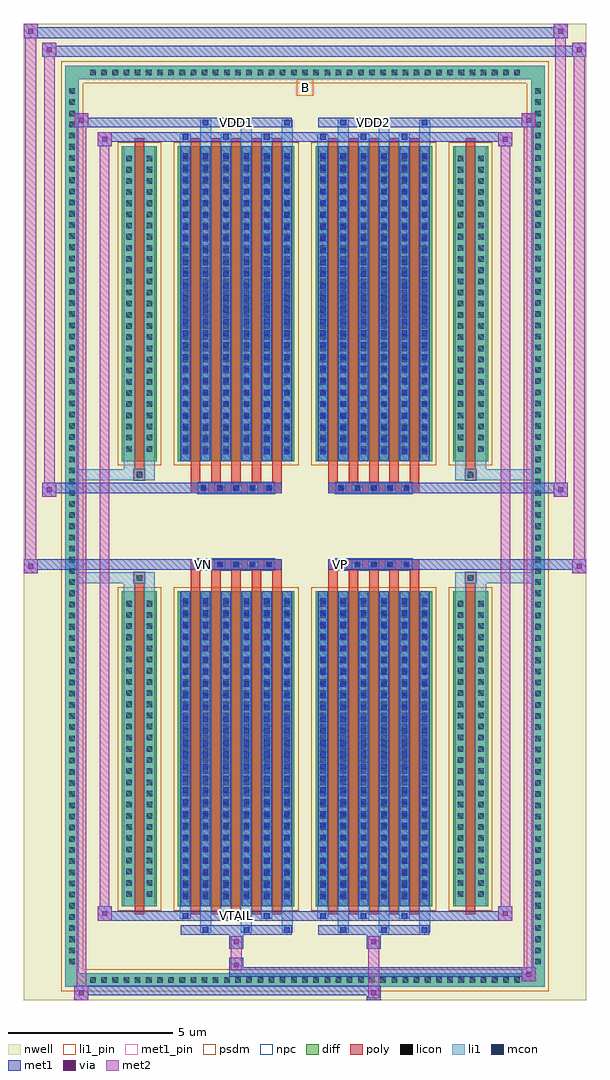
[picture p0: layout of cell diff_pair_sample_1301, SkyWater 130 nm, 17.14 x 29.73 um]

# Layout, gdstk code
import gdstk
lib = gdstk.Library(unit=1e-6, precision=5e-09)
def R(c, l, rs):  # rectangles x0, y0, x1, y1
    for r in rs: c.add(gdstk.rectangle(r[:2], r[2:], *l))
def A(c, l, x, y, w, h, nx, ny, dx, dy):  # array of equal rectangles
    R(c, l, [(x+i*dx, y+j*dy, x+i*dx+w, y+j*dy+h) for i in range(nx) for j in range(ny)])
def P(c, l, *ps):  # polygons
    for p in ps: c.add(gdstk.Polygon(p, *l))
nwell = (64, 20)
diff = (65, 20)
poly = (66, 20)
licon = (66, 44)
li1_pin = (67, 16)
li1 = (67, 20)
mcon = (67, 44)
met1_pin = (68, 16)
met1 = (68, 20)
via = (68, 44)
met2 = (69, 20)
psdm = (94, 20)
npc = (95, 20)

diff_pair_sample_1301 = lib.new_cell('diff_pair_sample_1301')
R(diff_pair_sample_1301, nwell, [(-8.57,-14.43,8.57,15.3), (-5.89,-12.62,-0.01,-0.8), (0.01,-12.62,5.89,-0.8), (-5.89,0.8,-0.01,12.62), (0.01,0.8,5.89,12.62)])
A(diff_pair_sample_1301, diff, -6.665, -14.03, 0.41, 0.41, 39, 2, 0.34, 27.65)
A(diff_pair_sample_1301, diff, -7.3, -13.465, 0.41, 0.41, 1, 79, 0, 0.34)
A(diff_pair_sample_1301, diff, 6.89, -13.465, 0.41, 0.41, 1, 79, 0, 0.34)
R(diff_pair_sample_1301, diff, [(-6.665,-14.03,6.665,-13.62), (-7.3,-13.465,-6.89,13.465), (6.89,-13.465,7.3,13.465), (-5.58,-11.575,-4.51,-1.985), (-3.87,-11.575,-0.32,-1.985), (0.32,-11.575,3.87,-1.985), (4.51,-11.575,5.58,-1.985), (-5.58,1.985,-4.51,11.575), (-3.87,1.985,-0.32,11.575), (0.32,1.985,3.87,11.575), (4.51,1.985,5.58,11.575), (-6.665,13.62,6.665,14.03)])
P(diff_pair_sample_1301, diff, [(7.3,14.03),(-7.3,14.03),(-7.3,-13.62),(-6.89,-13.62),(-6.89,13.62),(6.89,13.62),(6.89,-13.62),(-6.89,-13.62),(-7.3,-13.62),(-7.3,-14.03),(7.3,-14.03)])
A(diff_pair_sample_1301, poly, -3.48, -11.825, 0.29, 10.09, 5, 2, 0.62, 13.56)
A(diff_pair_sample_1301, poly, 0.71, -11.825, 0.29, 10.09, 5, 2, 0.62, 13.56)
A(diff_pair_sample_1301, poly, -3.48, -1.735, 0.29, 0.405, 5, 2, 0.62, 3.065)
A(diff_pair_sample_1301, poly, 0.71, -1.735, 0.29, 0.405, 5, 2, 0.62, 3.065)
A(diff_pair_sample_1301, poly, -3.26, -1.33, 0.33, 0.33, 5, 2, 0.5, 2.33)
A(diff_pair_sample_1301, poly, 0.93, -1.33, 0.33, 0.33, 5, 2, 0.5, 2.33)
R(diff_pair_sample_1301, poly, [(-5.19,-11.825,-4.9,-1.735), (4.9,-11.825,5.19,-1.735), (-5.21,-1.735,-4.88,-1.405), (-5.21,-1.735,-4.88,-1.405), (4.88,-1.735,5.21,-1.405), (4.88,-1.735,5.21,-1.405), (-3.48,-1.33,-0.71,-1), (0.71,-1.33,3.48,-1), (-3.48,1,-0.71,1.33), (0.71,1,3.48,1.33), (-5.21,1.405,-4.88,1.735), (-5.21,1.405,-4.88,1.735), (4.88,1.405,5.21,1.735), (4.88,1.405,5.21,1.735), (-5.19,1.735,-4.9,11.825), (4.9,1.735,5.19,11.825)])
A(diff_pair_sample_1301, licon, -6.545, -13.91, 0.17, 0.17, 39, 2, 0.34, 27.65)
A(diff_pair_sample_1301, licon, -7.18, -13.345, 0.17, 0.17, 1, 79, 0, 0.34)
A(diff_pair_sample_1301, licon, 7.01, -13.345, 0.17, 0.17, 1, 79, 0, 0.34)
A(diff_pair_sample_1301, licon, -5.44, -11.285, 0.17, 0.17, 1, 27, 0, 0.34)
A(diff_pair_sample_1301, licon, -4.82, -11.285, 0.17, 0.17, 1, 27, 0, 0.34)
A(diff_pair_sample_1301, licon, -3.73, -11.285, 0.17, 0.17, 6, 27, 0.62, 0.34)
A(diff_pair_sample_1301, licon, 0.46, -11.285, 0.17, 0.17, 6, 27, 0.62, 0.34)
A(diff_pair_sample_1301, licon, 4.65, -11.285, 0.17, 0.17, 1, 27, 0, 0.34)
A(diff_pair_sample_1301, licon, 5.27, -11.285, 0.17, 0.17, 1, 27, 0, 0.34)
A(diff_pair_sample_1301, licon, -3.18, -1.25, 0.17, 0.17, 5, 2, 0.5, 2.33)
A(diff_pair_sample_1301, licon, 1.01, -1.25, 0.17, 0.17, 5, 2, 0.5, 2.33)
A(diff_pair_sample_1301, licon, -5.44, 2.275, 0.17, 0.17, 1, 27, 0, 0.34)
A(diff_pair_sample_1301, licon, -4.82, 2.275, 0.17, 0.17, 1, 27, 0, 0.34)
A(diff_pair_sample_1301, licon, -3.73, 2.275, 0.17, 0.17, 6, 27, 0.62, 0.34)
A(diff_pair_sample_1301, licon, 0.46, 2.275, 0.17, 0.17, 6, 27, 0.62, 0.34)
A(diff_pair_sample_1301, licon, 4.65, 2.275, 0.17, 0.17, 1, 27, 0, 0.34)
A(diff_pair_sample_1301, licon, 5.27, 2.275, 0.17, 0.17, 1, 27, 0, 0.34)
R(diff_pair_sample_1301, licon, [(-5.13,-1.655,-4.96,-1.485), (4.96,-1.655,5.13,-1.485), (-5.13,1.485,-4.96,1.655), (4.96,1.485,5.13,1.655)])
R(diff_pair_sample_1301, li1_pin, [(-0.25,13.12,0.25,13.62)])
A(diff_pair_sample_1301, li1, -6.625, -13.99, 0.33, 0.33, 39, 2, 0.34, 27.65)
A(diff_pair_sample_1301, li1, -7.26, -13.425, 0.33, 0.33, 1, 79, 0, 0.34)
A(diff_pair_sample_1301, li1, 6.93, -13.425, 0.33, 0.33, 1, 79, 0, 0.34)
A(diff_pair_sample_1301, li1, -3.19, -12.38, 0.33, 0.805, 3, 2, 1.24, 23.955)
A(diff_pair_sample_1301, li1, -3.11, -12.38, 0.17, 0.17, 3, 2, 1.24, 24.59)
A(diff_pair_sample_1301, li1, 1, -12.38, 0.33, 0.805, 3, 2, 1.24, 23.955)
A(diff_pair_sample_1301, li1, 1.08, -12.38, 0.17, 0.17, 3, 2, 1.24, 24.59)
A(diff_pair_sample_1301, li1, -3.81, -11.95, 0.33, 0.375, 3, 2, 1.24, 23.525)
A(diff_pair_sample_1301, li1, -3.73, -11.95, 0.17, 0.17, 3, 2, 1.24, 23.73)
A(diff_pair_sample_1301, li1, 0.38, -11.95, 0.33, 0.375, 3, 2, 1.24, 23.525)
A(diff_pair_sample_1301, li1, 0.46, -11.95, 0.17, 0.17, 3, 2, 1.24, 23.73)
A(diff_pair_sample_1301, li1, -3.81, -11.575, 0.33, 9.59, 6, 2, 0.62, 13.56)
A(diff_pair_sample_1301, li1, 0.38, -11.575, 0.33, 9.59, 6, 2, 0.62, 13.56)
A(diff_pair_sample_1301, li1, -5.52, -11.365, 0.33, 0.33, 1, 27, 0, 0.34)
A(diff_pair_sample_1301, li1, -4.9, -11.365, 0.33, 0.33, 1, 27, 0, 0.34)
A(diff_pair_sample_1301, li1, -3.81, -11.365, 0.33, 0.33, 6, 27, 0.62, 0.34)
A(diff_pair_sample_1301, li1, -3.73, -11.365, 0.17, 0.17, 6, 26, 0.62, 0.36)
A(diff_pair_sample_1301, li1, -3.73, -11.365, 0.17, 9.17, 6, 2, 0.62, 13.56)
A(diff_pair_sample_1301, li1, 0.38, -11.365, 0.33, 0.33, 6, 27, 0.62, 0.34)
A(diff_pair_sample_1301, li1, 0.46, -11.365, 0.17, 0.17, 6, 26, 0.62, 0.36)
A(diff_pair_sample_1301, li1, 0.46, -11.365, 0.17, 9.17, 6, 2, 0.62, 13.56)
A(diff_pair_sample_1301, li1, 4.57, -11.365, 0.33, 0.33, 1, 27, 0, 0.34)
A(diff_pair_sample_1301, li1, 5.19, -11.365, 0.33, 0.33, 1, 27, 0, 0.34)
A(diff_pair_sample_1301, li1, -3.26, -1.33, 0.33, 0.33, 5, 2, 0.5, 2.33)
A(diff_pair_sample_1301, li1, 0.93, -1.33, 0.33, 0.33, 5, 2, 0.5, 2.33)
A(diff_pair_sample_1301, li1, -5.52, 2.195, 0.33, 0.33, 1, 27, 0, 0.34)
A(diff_pair_sample_1301, li1, -4.9, 2.195, 0.33, 0.33, 1, 27, 0, 0.34)
A(diff_pair_sample_1301, li1, -3.81, 2.195, 0.33, 0.33, 6, 27, 0.62, 0.34)
A(diff_pair_sample_1301, li1, -3.73, 2.195, 0.17, 0.17, 6, 26, 0.62, 0.36)
A(diff_pair_sample_1301, li1, 0.38, 2.195, 0.33, 0.33, 6, 27, 0.62, 0.34)
A(diff_pair_sample_1301, li1, 0.46, 2.195, 0.17, 0.17, 6, 26, 0.62, 0.36)
A(diff_pair_sample_1301, li1, 4.57, 2.195, 0.33, 0.33, 1, 27, 0, 0.34)
A(diff_pair_sample_1301, li1, 5.19, 2.195, 0.33, 0.33, 1, 27, 0, 0.34)
R(diff_pair_sample_1301, li1, [(-7.3,-14.03,-6.89,-13.62), (-7.3,-14.03,-6.89,-13.62), (-6.89,-14.03,6.89,-13.62), (6.89,-14.03,7.3,-13.62), (6.89,-14.03,7.3,-13.62), (-7.3,-13.62,-6.89,13.62), (6.89,-13.62,7.3,13.62), (-5.52,-11.575,-5.19,-1.985), (-4.9,-11.575,-4.57,-1.985), (4.57,-11.575,4.9,-1.985), (5.19,-11.575,5.52,-1.985), (-5.52,-1.985,-5.19,-1.405), (-4.9,-1.985,-4.57,-1.405), (4.57,-1.985,4.9,-1.405), (5.19,-1.985,5.52,-1.405), (-7.3,-1.735,-5.21,-1.405), (-5.52,-1.735,-5.21,-1.405), (-5.21,-1.735,-4.88,-1.405), (-4.88,-1.735,-4.57,-1.405), (4.57,-1.735,4.88,-1.405), (4.88,-1.735,5.21,-1.405), (4.88,-1.735,7.3,-1.405), (5.21,-1.735,5.52,-1.405), (-7.3,1.405,-5.21,1.735), (-5.52,1.405,-5.21,1.735), (-5.52,1.405,-5.19,1.985), (-5.21,1.405,-4.88,1.735), (-4.9,1.405,-4.57,1.985), (-4.88,1.405,-4.57,1.735), (4.57,1.405,4.88,1.735), (4.57,1.405,4.9,1.985), (4.88,1.405,5.21,1.735), (4.88,1.405,7.3,1.735), (5.19,1.405,5.52,1.985), (5.21,1.405,5.52,1.735), (-5.52,1.985,-5.19,11.575), (-4.9,1.985,-4.57,11.575), (4.57,1.985,4.9,11.575), (5.19,1.985,5.52,11.575), (-7.3,13.62,-6.89,14.03), (-7.3,13.62,-6.89,14.03), (-6.89,13.62,6.89,14.03), (6.89,13.62,7.3,14.03), (6.89,13.62,7.3,14.03)])
A(diff_pair_sample_1301, mcon, -3.11, -12.38, 0.17, 0.17, 3, 2, 1.24, 24.59)
A(diff_pair_sample_1301, mcon, 1.08, -12.38, 0.17, 0.17, 3, 2, 1.24, 24.59)
A(diff_pair_sample_1301, mcon, -3.73, -11.95, 0.17, 0.17, 3, 2, 1.24, 23.73)
A(diff_pair_sample_1301, mcon, 0.46, -11.95, 0.17, 0.17, 3, 2, 1.24, 23.73)
A(diff_pair_sample_1301, mcon, -3.73, -11.365, 0.17, 0.17, 6, 26, 0.62, 0.36)
A(diff_pair_sample_1301, mcon, 0.46, -11.365, 0.17, 0.17, 6, 26, 0.62, 0.36)
A(diff_pair_sample_1301, mcon, -3.18, -1.25, 0.17, 0.17, 5, 2, 0.5, 2.33)
A(diff_pair_sample_1301, mcon, 1.01, -1.25, 0.17, 0.17, 5, 2, 0.5, 2.33)
A(diff_pair_sample_1301, mcon, -3.73, 2.195, 0.17, 0.17, 6, 26, 0.62, 0.36)
A(diff_pair_sample_1301, mcon, 0.46, 2.195, 0.17, 0.17, 6, 26, 0.62, 0.36)
R(diff_pair_sample_1301, met1_pin, [(-2.23,-11.99,-1.96,-11.72), (-3.23,-1.29,-2.96,-1.02), (0.96,-1.29,1.23,-1.02), (-2.23,12.17,-1.96,12.44), (1.96,12.17,2.23,12.44)])
A(diff_pair_sample_1301, met1, -3.17, -12.44, 0.29, 0.29, 3, 2, 1.24, 24.59)
A(diff_pair_sample_1301, met1, 1.02, -12.44, 0.29, 0.29, 3, 2, 1.24, 24.59)
A(diff_pair_sample_1301, met1, -3.79, -12.01, 0.29, 0.29, 3, 2, 1.24, 23.73)
A(diff_pair_sample_1301, met1, 0.4, -12.01, 0.29, 0.29, 3, 2, 1.24, 23.73)
A(diff_pair_sample_1301, met1, -3.79, -11.575, 0.29, 9.59, 6, 2, 0.62, 13.56)
A(diff_pair_sample_1301, met1, 0.4, -11.575, 0.29, 9.59, 6, 2, 0.62, 13.56)
A(diff_pair_sample_1301, met1, -3.79, -11.425, 0.29, 0.29, 6, 26, 0.62, 0.36)
A(diff_pair_sample_1301, met1, 0.4, -11.425, 0.29, 0.29, 6, 26, 0.62, 0.36)
A(diff_pair_sample_1301, met1, -3.24, -1.31, 0.29, 0.29, 5, 2, 0.5, 2.33)
A(diff_pair_sample_1301, met1, 0.95, -1.31, 0.29, 0.29, 5, 2, 0.5, 2.33)
A(diff_pair_sample_1301, met1, -3.79, 2.135, 0.29, 0.29, 6, 26, 0.62, 0.36)
A(diff_pair_sample_1301, met1, 0.4, 2.135, 0.29, 0.29, 6, 26, 0.62, 0.36)
R(diff_pair_sample_1301, met1, [(-7.03,-14.43,-6.6,-14), (1.88,-14.43,2.31,-14), (-7.03,-14.29,2.31,-14), (6.6,-13.86,7.03,-13.43), (-2.31,-13.72,7.03,-13.43), (-2.31,-13.58,-1.88,-13.15), (-2.31,-12.87,-1.88,-12.44), (1.88,-12.87,2.31,-12.44), (-3.79,-12.44,-0.4,-12.15), (0.4,-12.44,3.79,-12.15), (-6.32,-12.01,-5.89,-11.58), (-6.32,-12.01,-3.79,-11.72), (-3.79,-12.01,-0.4,-11.72), (-0.4,-12.01,0.4,-11.72), (0.4,-12.01,3.79,-11.72), (3.79,-12.01,6.32,-11.72), (5.89,-12.01,6.32,-11.58), (-8.57,-1.43,-8.14,-1), (8.14,-1.43,8.57,-1), (-8.57,-1.33,-0.71,-1), (-3.48,-1.33,-0.71,-1), (0.71,-1.33,3.48,-1), (0.71,-1.33,8.57,-1), (-8,0.9,-7.57,1.33), (7.57,0.9,8,1.33), (-8,1,-3.48,1.33), (-3.48,1,-0.71,1.33), (0.71,1,3.48,1.33), (3.48,1,8,1.33), (-6.32,11.58,-5.89,12.01), (5.89,11.58,6.32,12.01), (-6.32,11.72,-3.79,12.01), (-3.79,11.72,-0.4,12.01), (-0.4,11.72,0.4,12.01), (0.4,11.72,3.79,12.01), (3.79,11.72,6.32,12.01), (-7.03,12.15,-6.6,12.58), (-7.03,12.15,-3.79,12.44), (-3.79,12.15,-0.4,12.44), (0.4,12.15,3.79,12.44), (3.79,12.15,7.03,12.44), (6.6,12.15,7.03,12.58), (-8,14.3,-7.57,14.73), (-8,14.3,-5.89,14.63), (-5.89,14.3,5.89,14.63), (5.89,14.3,8.57,14.63), (8.14,14.3,8.57,14.73), (-8.57,14.87,-8.14,15.3), (-8.57,14.87,-5.89,15.2), (-5.89,14.87,5.89,15.2), (5.89,14.87,8,15.2), (7.57,14.87,8,15.3)])
R(diff_pair_sample_1301, via, [(-6.89,-14.29,-6.74,-14.14), (2.02,-14.29,2.17,-14.14), (6.74,-13.72,6.89,-13.57), (-2.17,-13.44,-2.02,-13.29), (-2.17,-12.73,-2.02,-12.58), (2.02,-12.73,2.17,-12.58), (-6.18,-11.87,-6.03,-11.72), (6.03,-11.87,6.18,-11.72), (-8.43,-1.29,-8.28,-1.14), (8.28,-1.29,8.43,-1.14), (-7.86,1.04,-7.71,1.19), (7.71,1.04,7.86,1.19), (-6.18,11.72,-6.03,11.87), (6.03,11.72,6.18,11.87), (-6.89,12.29,-6.74,12.44), (6.74,12.29,6.89,12.44), (-7.86,14.44,-7.71,14.59), (8.28,14.44,8.43,14.59), (-8.43,15.01,-8.28,15.16), (7.71,15.01,7.86,15.16)])
R(diff_pair_sample_1301, met2, [(-7.03,-14.43,-6.6,-14), (-6.96,-14.43,-6.67,12.58), (-6.67,-14.43,-6.6,-14), (-6.98,-14.38,-6.65,-14.05), (1.93,-14.38,2.26,-14.05), (1.93,-14.05,2.26,-12.82), (6.6,-13.86,7.03,-13.43), (6.67,-13.86,6.96,12.58), (6.96,-13.86,7.03,-13.43), (6.65,-13.81,6.98,-13.48), (-2.26,-13.53,-1.93,-13.2), (-2.26,-13.2,-1.93,-12.82), (-2.26,-12.82,-1.93,-12.49), (1.93,-12.82,2.26,-12.49), (-6.32,-12.01,-5.89,-11.58), (-6.25,-12.01,-5.96,12.01), (-5.96,-12.01,-5.89,-11.58), (5.89,-12.01,6.32,-11.58), (5.96,-12.01,6.25,12.01), (6.25,-12.01,6.32,-11.58), (-6.27,-11.96,-5.94,-11.63), (5.94,-11.96,6.27,-11.63), (-8.57,-1.43,-8.14,-1), (-8.52,-1.43,-8.19,15.3), (-8.19,-1.43,-8.14,-1), (8.14,-1.43,8.57,-1), (8.19,-1.43,8.52,14.73), (8.52,-1.43,8.57,-1), (-8.52,-1.38,-8.19,-1.05), (8.19,-1.38,8.52,-1.05), (-8,0.9,-7.57,1.33), (-7.95,0.9,-7.62,14.73), (-7.62,0.9,-7.57,1.33), (7.57,0.9,8,1.33), (7.62,0.9,7.95,15.3), (7.95,0.9,8,1.33), (-7.95,0.95,-7.62,1.28), (7.62,0.95,7.95,1.28), (-6.32,11.58,-5.89,12.01), (-5.96,11.58,-5.89,12.01), (5.89,11.58,6.32,12.01), (6.25,11.58,6.32,12.01), (-6.27,11.63,-5.94,11.96), (5.94,11.63,6.27,11.96), (-7.03,12.15,-6.6,12.58), (-6.67,12.15,-6.6,12.58), (6.6,12.15,7.03,12.58), (6.96,12.15,7.03,12.58), (-6.98,12.2,-6.65,12.53), (6.65,12.2,6.98,12.53), (-8,14.3,-7.57,14.73), (-7.62,14.3,-7.57,14.73), (8.14,14.3,8.57,14.73), (8.52,14.3,8.57,14.73), (-7.95,14.35,-7.62,14.68), (8.19,14.35,8.52,14.68), (-8.57,14.87,-8.14,15.3), (-8.19,14.87,-8.14,15.3), (7.57,14.87,8,15.3), (7.95,14.87,8,15.3), (-8.52,14.92,-8.19,15.25), (7.62,14.92,7.95,15.25)])
R(diff_pair_sample_1301, psdm, [(-5.71,-11.705,-4.38,-1.855), (-4,-11.705,-0.19,-1.855), (0.19,-11.705,4,-1.855), (4.38,-11.705,5.71,-1.855), (-5.71,1.855,-4.38,11.705), (-4,1.855,-0.19,11.705), (0.19,1.855,4,11.705), (4.38,1.855,5.71,11.705)])
P(diff_pair_sample_1301, psdm, [(7.43,14.16),(-7.43,14.16),(-7.43,-13.49),(-6.76,-13.49),(-6.76,13.49),(6.76,13.49),(6.76,-13.49),(-6.76,-13.49),(-7.43,-13.49),(-7.43,-14.16),(7.43,-14.16)])
A(diff_pair_sample_1301, npc, -3.28, -1.35, 0.37, 0.37, 5, 2, 0.5, 2.33)
A(diff_pair_sample_1301, npc, 0.91, -1.35, 0.37, 0.37, 5, 2, 0.5, 2.33)
R(diff_pair_sample_1301, npc, [(-5.23,-1.755,-4.86,-1.385), (4.86,-1.755,5.23,-1.385), (-3.28,-1.35,-2.41,-0.98), (-3.28,-1.35,-2.41,-0.98), (-2.78,-1.35,-1.91,-0.98), (-2.78,-1.35,-1.91,-0.98), (-2.28,-1.35,-1.41,-0.98), (-2.28,-1.35,-1.41,-0.98), (-1.78,-1.35,-0.91,-0.98), (-1.78,-1.35,-0.91,-0.98), (0.91,-1.35,1.78,-0.98), (0.91,-1.35,1.78,-0.98), (1.41,-1.35,2.28,-0.98), (1.41,-1.35,2.28,-0.98), (1.91,-1.35,2.78,-0.98), (1.91,-1.35,2.78,-0.98), (2.41,-1.35,3.28,-0.98), (2.41,-1.35,3.28,-0.98), (-3.28,0.98,-2.41,1.35), (-3.28,0.98,-2.41,1.35), (-2.78,0.98,-1.91,1.35), (-2.78,0.98,-1.91,1.35), (-2.28,0.98,-1.41,1.35), (-2.28,0.98,-1.41,1.35), (-1.78,0.98,-0.91,1.35), (-1.78,0.98,-0.91,1.35), (0.91,0.98,1.78,1.35), (0.91,0.98,1.78,1.35), (1.41,0.98,2.28,1.35), (1.41,0.98,2.28,1.35), (1.91,0.98,2.78,1.35), (1.91,0.98,2.78,1.35), (2.41,0.98,3.28,1.35), (2.41,0.98,3.28,1.35), (-5.23,1.385,-4.86,1.755), (4.86,1.385,5.23,1.755)])
diff_pair_sample_1301.add(gdstk.Label('VTAIL', (-2.095,-11.855), layer=68, texttype=5))
diff_pair_sample_1301.add(gdstk.Label('VN', (-3.095,-1.155), layer=68, texttype=5))
diff_pair_sample_1301.add(gdstk.Label('VP', (1.095,-1.155), layer=68, texttype=5))
diff_pair_sample_1301.add(gdstk.Label('B', (0,13.37), layer=67, texttype=5))
diff_pair_sample_1301.add(gdstk.Label('VDD2', (2.095,12.305), layer=68, texttype=5))
diff_pair_sample_1301.add(gdstk.Label('VDD1', (-2.095,12.305), layer=68, texttype=5))

lib.write_gds('diff_pair_sample_1301.gds')
